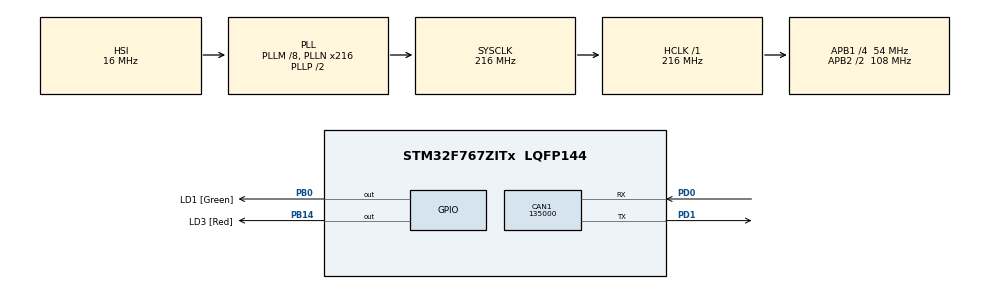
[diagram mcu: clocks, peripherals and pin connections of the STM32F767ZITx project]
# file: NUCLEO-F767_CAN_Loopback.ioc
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CAN1.BS1=CAN_BS1_16TQ
CAN1.BS2=CAN_BS2_8TQ
CAN1.CalculateBaudRate=135000
CAN1.CalculateTimeBit=7407
CAN1.CalculateTimeQuantum=296.2962962962963
CAN1.Mode=CAN_MODE_LOOPBACK
Mcu.Family=STM32F7
Mcu.Name=STM32F767ZITx
Mcu.Package=LQFP144
NVIC.CAN1_RX0_IRQn=true\:0\:0\:false\:false\:true\:true\:true\:true
NVIC.PriorityGroup=NVIC_PRIORITYGROUP_4
PA13.GPIO_Label=TMS
PA13.Mode=Serial_Wire
PA13.Signal=SYS_JTMS-SWDIO
PA14.GPIO_Label=TCK
PA14.Mode=Serial_Wire
PA14.Signal=SYS_JTCK-SWCLK
PB0.GPIO_Label=LD1 [Green]
PB0.Signal=GPIO_Output
PB14.GPIO_Label=LD3 [Red]
PB14.Signal=GPIO_Output
PD0.GPIO_PuPd=GPIO_PULLUP
PD0.Mode=CAN_Activate
PD0.Signal=CAN1_RX
PD1.Mode=CAN_Activate
PD1.Signal=CAN1_TX
ProjectManager.HeapSize=0x200
ProjectManager.StackSize=0x400
ProjectManager.TargetToolchain=STM32CubeIDE
RCC.48MHZClocksFreq_Value=24000000
RCC.AHBFreq_Value=216000000
RCC.APB1CLKDivider=RCC_HCLK_DIV4
RCC.APB1Freq_Value=54000000
RCC.APB1TimFreq_Value=108000000
RCC.APB2CLKDivider=RCC_HCLK_DIV2
RCC.APB2Freq_Value=108000000
RCC.APB2TimFreq_Value=216000000
RCC.CortexFreq_Value=216000000
RCC.HCLKFreq_Value=216000000
RCC.HSE_VALUE=8000000
RCC.HSI_VALUE=16000000
RCC.LSE_VALUE=32768
RCC.PLLM=8
RCC.PLLMUL=RCC_PLL_MUL9
RCC.PLLN=216
RCC.PLLQ=9
RCC.PRESCALERUSB=RCC_USBCLKSOURCE_PLL_DIV1_5
RCC.SYSCLKFreq_VALUE=216000000
RCC.SYSCLKSource=RCC_SYSCLKSOURCE_PLLCLK
RCC.SYSCLKSourceVirtual=RCC_SYSCLKSOURCE_PLLCLK
RCC.USBFreq_Value=48000000
RCC.VCOOutputFreq_Value=432000000
board=NUCLEO-F767ZI

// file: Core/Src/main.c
/* USER CODE BEGIN Header */
/**
  ******************************************************************************
  * @file           : main.c
  * @brief          : Main program body
  ******************************************************************************
  * @attention
  *
  * Copyright (c) 2025 STMicroelectronics.
  * All rights reserved.
  *
  * This software is licensed under terms that can be found in the LICENSE file
  * in the root directory of this software component.
  * If no LICENSE file comes with this software, it is provided AS-IS.
  *
  ******************************************************************************
  */
/* USER CODE END Header */
#include "main.h"

CAN_HandleTypeDef hcan1;

/* USER CODE BEGIN PV */
CAN_TxHeaderTypeDef   TxHeader;        /* Header containing the information of the transmitted frame */
CAN_RxHeaderTypeDef   RxHeader;        /* Header containing the information of the received frame */
uint8_t               TxData[8] = {0}; /* Buffer of the data to send */
uint8_t               RxData[8];       /* Buffer of the received data */
uint32_t              TxMailbox;       /* The number of the mail box that transmitted the Tx message */
/* USER CODE END PV */

void SystemClock_Config(void);
static void MX_GPIO_Init(void);
static void MX_CAN1_Init(void);

int main(void)
{

    /* MCU Configuration--------------------------------------------------------*/

    /* Reset of all peripherals, Initializes the Flash interface and the Systick. */
    HAL_Init();

    /* Configure the system clock */
    SystemClock_Config();

    /* Initialize all configured peripherals */
    MX_GPIO_Init();
    MX_CAN1_Init();
    /* USER CODE BEGIN 2 */
    TxHeader.StdId = 0x123;
    TxHeader.RTR = CAN_RTR_DATA;
    TxHeader.IDE = CAN_ID_STD;
    TxHeader.DLC = 8;
    TxHeader.TransmitGlobalTime = DISABLE;
    TxData[0] = 0;
    TxData[7] = 0xFF;
    /* USER CODE END 2 */

    /* Infinite loop */
    /* USER CODE BEGIN WHILE */
    while (1)
    {
        TxData[0] ++;
        TxData[7] --;

        /* It's mandatory to look for a free Tx mail box */
        while(HAL_CAN_GetTxMailboxesFreeLevel(&hcan1) == 0); /* Wait till a Tx mailbox is free. Using while loop instead of HAL_Delay() */
        if (HAL_CAN_AddTxMessage(&hcan1, &TxHeader, TxData, &TxMailbox) != HAL_OK) /* Send the CAN frame */
        {
            /* Transmission request Error */
            Error_Handler();
        }
        /* USER CODE END WHILE */

    }
}

void SystemClock_Config(void)
{
    RCC_OscInitTypeDef RCC_OscInitStruct = {0};
    RCC_ClkInitTypeDef RCC_ClkInitStruct = {0};

    /** Configure the main internal regulator output voltage
    */
    __HAL_RCC_PWR_CLK_ENABLE();
    __HAL_PWR_VOLTAGESCALING_CONFIG(PWR_REGULATOR_VOLTAGE_SCALE1);

    /** Initializes the RCC Oscillators according to the specified parameters
    * in the RCC_OscInitTypeDef structure.
    */
    RCC_OscInitStruct.OscillatorType = RCC_OSCILLATORTYPE_HSI;
    RCC_OscInitStruct.HSIState = RCC_HSI_ON;
    RCC_OscInitStruct.HSICalibrationValue = RCC_HSICALIBRATION_DEFAULT;
    RCC_OscInitStruct.PLL.PLLState = RCC_PLL_ON;
    RCC_OscInitStruct.PLL.PLLSource = RCC_PLLSOURCE_HSI;
    RCC_OscInitStruct.PLL.PLLM = 8;
    RCC_OscInitStruct.PLL.PLLN = 216;
    RCC_OscInitStruct.PLL.PLLP = RCC_PLLP_DIV2;
    RCC_OscInitStruct.PLL.PLLQ = 9;
    RCC_OscInitStruct.PLL.PLLR = 2;
    if (HAL_RCC_OscConfig(&RCC_OscInitStruct) != HAL_OK)
    {
        Error_Handler();
    }

    /** Activate the Over-Drive mode
    */
    if (HAL_PWREx_EnableOverDrive() != HAL_OK)
    {
        Error_Handler();
    }

    /** Initializes the CPU, AHB and APB buses clocks
    */
    RCC_ClkInitStruct.ClockType = RCC_CLOCKTYPE_HCLK | RCC_CLOCKTYPE_SYSCLK
                                  | RCC_CLOCKTYPE_PCLK1 | RCC_CLOCKTYPE_PCLK2;
    RCC_ClkInitStruct.SYSCLKSource = RCC_SYSCLKSOURCE_PLLCLK;
    RCC_ClkInitStruct.AHBCLKDivider = RCC_SYSCLK_DIV1;
    RCC_ClkInitStruct.APB1CLKDivider = RCC_HCLK_DIV4;
    RCC_ClkInitStruct.APB2CLKDivider = RCC_HCLK_DIV2;

    if (HAL_RCC_ClockConfig(&RCC_ClkInitStruct, FLASH_LATENCY_7) != HAL_OK)
    {
        Error_Handler();
    }
}

static void MX_CAN1_Init(void)
{

    /* USER CODE BEGIN CAN1_Init 0 */
    CAN_FilterTypeDef  sFilterConfig;
    /* USER CODE END CAN1_Init 0 */

    hcan1.Instance = CAN1;
    hcan1.Init.Prescaler = 16;
    hcan1.Init.Mode = CAN_MODE_LOOPBACK;
    hcan1.Init.SyncJumpWidth = CAN_SJW_1TQ;
    hcan1.Init.TimeSeg1 = CAN_BS1_16TQ;
    hcan1.Init.TimeSeg2 = CAN_BS2_8TQ;
    hcan1.Init.TimeTriggeredMode = DISABLE;
    hcan1.Init.AutoBusOff = DISABLE;
    hcan1.Init.AutoWakeUp = DISABLE;
    hcan1.Init.AutoRetransmission = DISABLE;
    hcan1.Init.ReceiveFifoLocked = DISABLE;
    hcan1.Init.TransmitFifoPriority = DISABLE;
    if (HAL_CAN_Init(&hcan1) != HAL_OK)
    {
        Error_Handler();
    }
    /* USER CODE BEGIN CAN1_Init 2 */
    /* The CAN filter configuration */
    sFilterConfig.FilterBank = 0;
    sFilterConfig.FilterMode = CAN_FILTERMODE_IDMASK;
    sFilterConfig.FilterScale = CAN_FILTERSCALE_32BIT;
    sFilterConfig.FilterIdHigh = 0x0000;
    sFilterConfig.FilterIdLow = 0x0000;
    sFilterConfig.FilterMaskIdHigh = 0x0000;
    sFilterConfig.FilterMaskIdLow = 0x0000;
    sFilterConfig.FilterFIFOAssignment = CAN_RX_FIFO0;
    sFilterConfig.FilterActivation = ENABLE;
    sFilterConfig.SlaveStartFilterBank = 14;

    if (HAL_CAN_ConfigFilter(&hcan1, &sFilterConfig) != HAL_OK)
    {
        /* Filter configuration Error */
        Error_Handler();
    }

    /* Start the CAN peripheral */
    if (HAL_CAN_Start(&hcan1) != HAL_OK)
    {
        /* Start Error */
        Error_Handler();
    }

    /* Activate CAN RX notification on FIFO0 */
    if (HAL_CAN_ActivateNotification(&hcan1, CAN_IT_RX_FIFO0_MSG_PENDING) != HAL_OK)
    {
        /* Notification Error */
        Error_Handler();
    }
    /* USER CODE END CAN1_Init 2 */

}

static void MX_GPIO_Init(void)
{
    GPIO_InitTypeDef GPIO_InitStruct = {0};

    /* GPIO Ports Clock Enable */
    __HAL_RCC_GPIOB_CLK_ENABLE();
    __HAL_RCC_GPIOA_CLK_ENABLE();
    __HAL_RCC_GPIOD_CLK_ENABLE();

    /*Configure GPIO pin Output Level */
    HAL_GPIO_WritePin(GPIOB, LD1_Pin | LD3_Pin, GPIO_PIN_RESET);

    /*Configure GPIO pins : LD1_Pin LD3_Pin */
    GPIO_InitStruct.Pin = LD1_Pin | LD3_Pin;
    GPIO_InitStruct.Mode = GPIO_MODE_OUTPUT_PP;
    GPIO_InitStruct.Pull = GPIO_NOPULL;
    GPIO_InitStruct.Speed = GPIO_SPEED_FREQ_LOW;
    HAL_GPIO_Init(GPIOB, &GPIO_InitStruct);

}

/* USER CODE BEGIN 4 */
void HAL_CAN_RxFifo0MsgPendingCallback(CAN_HandleTypeDef *CanHandle)
{
    /* Get RX message */
    if (HAL_CAN_GetRxMessage(CanHandle, CAN_RX_FIFO0, &RxHeader, RxData) != HAL_OK)
    {
        /* Reception Error */
        Error_Handler();
    }
    else
    {
        /* Toggle the LED when a message is received. Note that the toggling is not seen as the
           transmit/receive of the frames are performed in a high frequency.
           If you need to see the LED toggling, you can add HAL_Delay(500) just after HAL_CAN_AddTxMessage()
           in the while loop in the main */
        HAL_GPIO_TogglePin(LD1_GPIO_Port, LD1_Pin);
    }
}
/* USER CODE END 4 */

void Error_Handler(void)
{
    /* USER CODE BEGIN Error_Handler_Debug */
    /* User can add his own implementation to report the HAL error return state */
    __disable_irq();
    while (1)
    {
        HAL_GPIO_TogglePin(LD3_GPIO_Port, LD3_Pin);
        /* Use this delay instead of HAL_Delay() since the interrupts has been disabled */
        for(__IO uint32_t i = 0; i < 0xFFFFF; i++);
    }
    /* USER CODE END Error_Handler_Debug */
}
